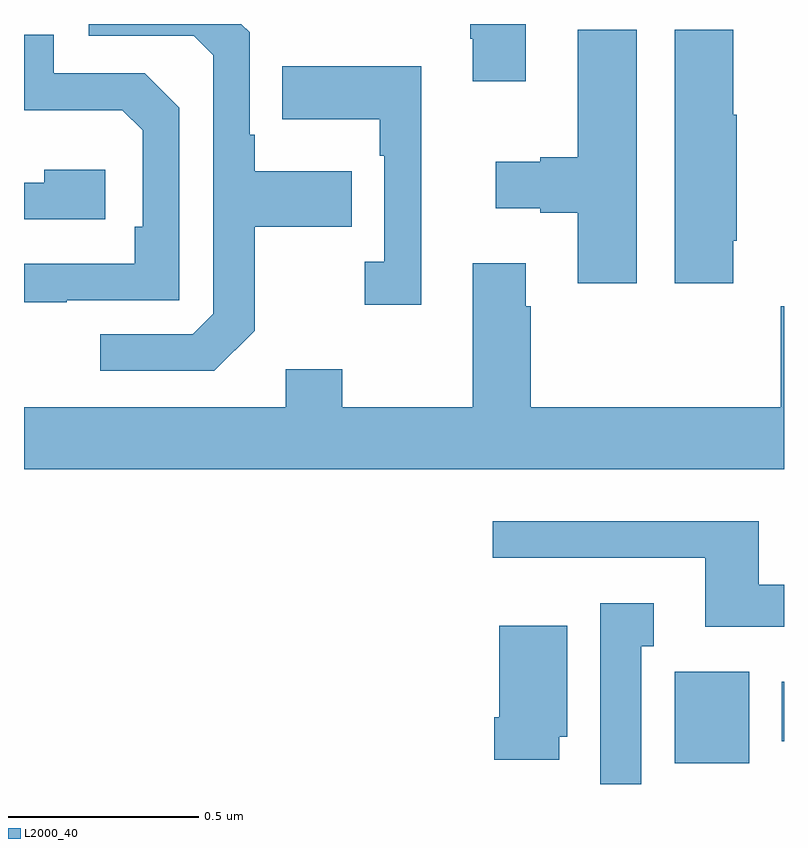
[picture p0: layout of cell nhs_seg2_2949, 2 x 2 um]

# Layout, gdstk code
import gdstk
lib = gdstk.Library(unit=1e-6, precision=1e-09)
def R(c, l, rs):  # rectangles x0, y0, x1, y1
    for r in rs: c.add(gdstk.rectangle(r[:2], r[2:], *l))
def P(c, l, *ps):  # polygons
    for p in ps: c.add(gdstk.Polygon(p, *l))
L2000_40 = (2000, 40)

nhs_seg2_2949 = lib.new_cell('nhs_seg2_2949')
R(nhs_seg2_2949, L2000_40, [(148.712,654.854,148.909,655.096), (148.994,654.913,149,655.069)])
P(nhs_seg2_2949, L2000_40, [(147.607,655.993),(147.607,656.266),(147.863,656.266),(147.863,656.413),(147.607,656.413),(147.607,656.509),(147.594,656.509),(147.594,656.778),(147.572,656.8),(147.171,656.8),(147.171,656.769),(147.447,656.769),(147.498,656.718),(147.498,656.037),(147.444,655.983),(147.201,655.983),(147.201,655.887),(147.501,655.887)],
  [(148.321,656.8),(148.174,656.8),(148.174,656.761),(148.181,656.761),(148.181,656.649),(148.321,656.649)],
  [(148.612,656.785),(148.457,656.785),(148.457,656.45),(148.358,656.45),(148.358,656.437),(148.242,656.437),(148.242,656.315),(148.358,656.315),(148.358,656.303),(148.457,656.303),(148.457,656.118),(148.612,656.118)],
  [(148.867,656.23),(148.875,656.23),(148.875,656.561),(148.867,656.561),(148.867,656.785),(148.712,656.785),(148.712,656.118),(148.867,656.118)],
  [(147.113,656.073),(147.408,656.073),(147.408,656.58),(147.318,656.67),(147.078,656.67),(147.078,656.772),(147,656.772),(147,656.573),(147.259,656.573),(147.312,656.52),(147.312,656.266),(147.292,656.266),(147.292,656.169),(147,656.169),(147,656.073),(147.001,656.073),(147.001,656.068),(147.113,656.068)],
  [(148.046,656.689),(147.679,656.689),(147.679,656.549),(147.936,656.549),(147.936,656.453),(147.948,656.453),(147.948,656.174),(147.897,656.174),(147.897,656.061),(148.046,656.061)],
  [(147.214,656.416),(147.053,656.416),(147.053,656.382),(147,656.382),(147,656.286),(147.214,656.286)],
  [(149,656.057),(148.991,656.057),(148.991,655.792),(148.334,655.792),(148.334,656.057),(148.321,656.057),(148.321,656.17),(148.181,656.17),(148.181,655.792),(147.837,655.792),(147.837,655.891),(147.689,655.891),(147.689,655.792),(147,655.792),(147,655.628),(149,655.628)],
  [(149,655.324),(148.933,655.324),(148.933,655.492),(148.233,655.492),(148.233,655.395),(148.793,655.395),(148.793,655.214),(149,655.214)],
  [(148.624,655.163),(148.657,655.163),(148.657,655.276),(148.517,655.276),(148.517,654.8),(148.624,654.8)],
  [(148.408,654.924),(148.429,654.924),(148.429,655.216),(148.25,655.216),(148.25,654.976),(148.238,654.976),(148.238,654.864),(148.408,654.864)])

lib.write_gds('nhs_seg2_2949.gds')
